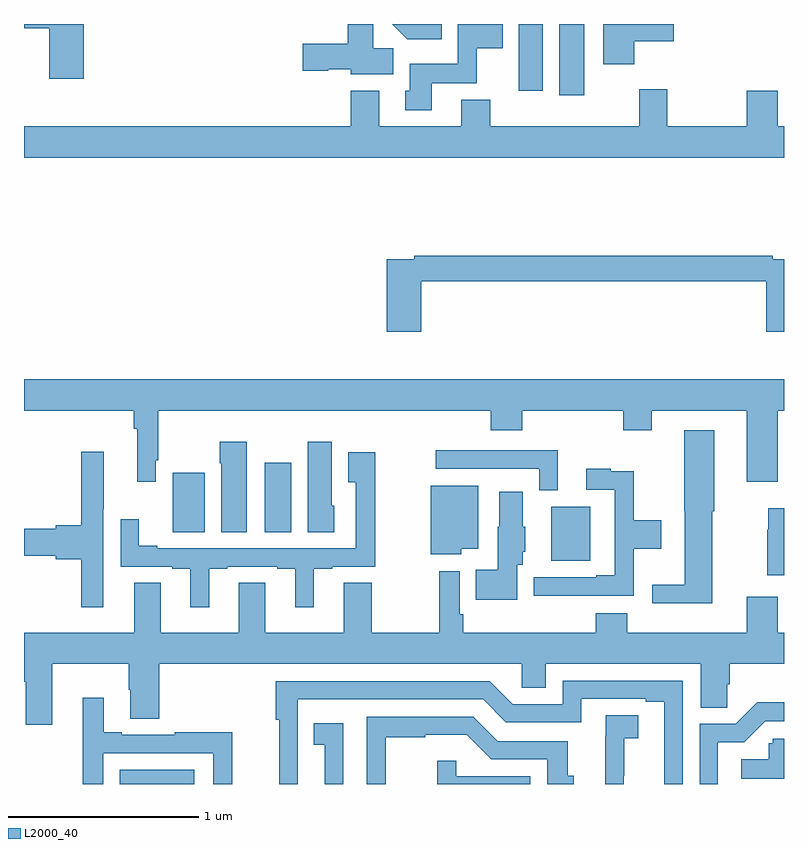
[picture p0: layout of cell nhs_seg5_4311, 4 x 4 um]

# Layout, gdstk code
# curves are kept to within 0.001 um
import gdstk
lib = gdstk.Library(unit=1e-6, precision=1e-09)
def R(c, l, rs):  # rectangles x0, y0, x1, y1
    for r in rs: c.add(gdstk.rectangle(r[:2], r[2:], *l))
def P(c, l, *ps):  # polygons
    for p in ps: c.add(gdstk.Polygon(p, *l))
L2000_40 = (2000, 40)

nhs_seg5_4311 = lib.new_cell('nhs_seg5_4311')
R(nhs_seg5_4311, L2000_40, [(365.503,850.799,365.896,850.873), (367.775,851.975,367.981,852.259), (365.783,852.124,365.95,852.436), (366.266,852.124,366.406,852.49), (367.817,854.424,367.948,854.799), (367.604,854.448,367.729,854.799)])
P(nhs_seg5_4311, L2000_40, [(365.315,854.799),(365,854.799),(365,854.776),(365.132,854.776),(365.132,854.511),(365.315,854.511)],
  [(367.199,854.799),(366.938,854.799),(366.938,854.798),(367.016,854.72),(367.199,854.72)],
  [(366.943,854.672),(366.838,854.672),(366.838,854.799),(366.704,854.799),(366.704,854.696),(366.468,854.696),(366.468,854.554),(366.6,854.554),(366.6,854.561),(366.72,854.561),(366.72,854.534),(366.943,854.534)],
  [(368.212,854.708),(368.419,854.708),(368.419,854.799),(368.048,854.799),(368.048,854.586),(368.212,854.586)],
  [(367.147,854.486),(367.383,854.486),(367.383,854.672),(367.519,854.672),(367.519,854.799),(367.284,854.799),(367.284,854.59),(367.031,854.59),(367.031,854.448),(367.007,854.448),(367.007,854.346),(367.147,854.346)],
  [(369,854.26),(368.968,854.26),(368.968,854.449),(368.804,854.449),(368.804,854.26),(368.385,854.26),(368.385,854.455),(368.237,854.455),(368.237,854.26),(367.454,854.26),(367.454,854.401),(367.301,854.401),(367.301,854.26),(366.871,854.26),(366.871,854.449),(366.719,854.449),(366.719,854.26),(365,854.26),(365,854.096),(369,854.096)],
  [(367.091,853.444),(368.906,853.444),(368.906,853.179),(369,853.179),(369,853.56),(368.942,853.56),(368.942,853.58),(367.054,853.58),(367.054,853.56),(366.908,853.56),(366.908,853.179),(367.091,853.179)],
  [(365,852.764),(365.578,852.764),(365.578,852.668),(365.597,852.668),(365.597,852.39),(365.694,852.39),(365.694,852.502),(365.707,852.502),(365.707,852.764),(367.457,852.764),(367.457,852.662),(367.622,852.662),(367.622,852.764),(368.153,852.764),(368.153,852.662),(368.305,852.662),(368.305,852.764),(368.804,852.764),(368.804,852.39),(368.968,852.39),(368.968,852.764),(369,852.764),(369,852.928),(365,852.928)],
  [(368.622,852.234),(368.632,852.234),(368.632,852.661),(368.474,852.661),(368.474,852.234),(368.477,852.234),(368.477,851.849),(368.307,851.849),(368.307,851.75),(368.622,851.75)],
  [(366.172,852.601),(366.031,852.601),(366.031,852.488),(366.038,852.488),(366.038,852.124),(366.172,852.124)],
  [(366.634,852.264),(366.619,852.264),(366.619,852.601),(366.494,852.601),(366.494,852.124),(366.634,852.124)],
  [(367.81,852.555),(367.167,852.555),(367.167,852.459),(367.713,852.459),(367.713,852.344),(367.81,852.344)],
  [(365.418,852.244),(365.42,852.244),(365.42,852.547),(365.302,852.547),(365.302,852.161),(365.166,852.161),(365.166,852.143),(365,852.143),(365,852.001),(365.166,852.001),(365.166,851.983),(365.302,851.983),(365.302,851.73),(365.418,851.73)],
  [(365.974,851.931),(366.07,851.931),(366.07,851.943),(366.332,851.943),(366.332,851.931),(366.428,851.931),(366.428,851.73),(366.526,851.73),(366.526,851.931),(366.622,851.931),(366.622,851.943),(366.848,851.943),(366.848,852.544),(366.707,852.544),(366.707,852.388),(366.747,852.388),(366.747,852.039),(365.701,852.039),(365.701,852.052),(365.605,852.052),(365.605,852.193),(365.508,852.193),(365.508,851.943),(365.78,851.943),(365.78,851.931),(365.876,851.931),(365.876,851.73),(365.974,851.73)],
  [(367.925,851.79),(368.21,851.79),(368.21,852.038),(368.353,852.038),(368.353,852.186),(368.21,852.186),(368.21,852.446),(368.087,852.446),(368.087,852.457),(367.959,852.457),(367.959,852.348),(368.109,852.348),(368.109,851.899),(368.012,851.899),(368.012,851.886),(367.683,851.886),(367.683,851.789),(367.925,851.789)],
  [(367.3,852.038),(367.39,852.038),(367.39,852.37),(367.142,852.37),(367.142,852.008),(367.3,852.008)],
  [(367.597,851.952),(367.624,851.952),(367.624,852.021),(367.639,852.021),(367.639,852.153),(367.624,852.153),(367.624,852.337),(367.502,852.337),(367.502,852.153),(367.493,852.153),(367.493,851.926),(367.378,851.926),(367.378,851.768),(367.597,851.768)],
  [(369,852.25),(368.918,852.25),(368.918,852.137),(368.911,852.137),(368.911,851.898),(369,851.898)],
  [(368.804,851.785),(368.804,851.596),(368.174,851.596),(368.174,851.698),(368.009,851.698),(368.009,851.596),(367.313,851.596),(367.313,851.692),(367.293,851.692),(367.293,851.92),(367.185,851.92),(367.185,851.596),(366.831,851.596),(366.831,851.858),(366.683,851.858),(366.683,851.596),(366.271,851.596),(366.271,851.858),(366.131,851.858),(366.131,851.596),(365.719,851.596),(365.719,851.858),(365.579,851.858),(365.579,851.596),(365,851.596),(365,851.336),(365.009,851.336),(365.009,851.112),(365.149,851.112),(365.149,851.432),(365.551,851.432),(365.551,851.294),(365.558,851.294),(365.558,851.143),(365.711,851.143),(365.711,851.432),(367.62,851.432),(367.62,851.305),(367.747,851.305),(367.747,851.432),(368.561,851.432),(368.561,851.2),(368.7,851.2),(368.7,851.323),(368.714,851.323),(368.714,851.432),(369,851.432),(369,851.596),(368.968,851.596),(368.968,851.785)],
  [(366.442,850.916),(366.441,851.244),(367.416,851.244),(367.536,851.124),(367.932,851.124),(367.932,851.247),(368.273,851.247),(368.273,851.232),(368.369,851.232),(368.369,850.799),(368.466,850.799),(368.466,851.343),(367.836,851.343),(367.836,851.22),(367.572,851.22),(367.452,851.34),(366.325,851.34),(366.325,851.137),(366.343,851.137),(366.343,850.799),(366.442,850.799)],
  [(365.418,850.962),(365.997,850.962),(365.997,850.799),(366.096,850.799),(366.096,851.071),(365.794,851.071),(365.794,851.058),(365.515,851.058),(365.515,851.071),(365.419,851.071),(365.419,851.254),(365.309,851.254),(365.309,851.009),(365.31,851.009),(365.31,850.799),(365.418,850.799)],
  [(368.652,851.019),(368.79,851.019),(368.901,851.13),(369,851.13),(369,851.228),(368.858,851.228),(368.745,851.115),(368.556,851.115),(368.556,850.799),(368.652,850.799)],
  [(368.157,850.843),(368.159,850.843),(368.159,851.041),(368.233,851.041),(368.233,851.162),(368.062,851.162),(368.062,851.051),(368.06,851.051),(368.06,850.799),(368.157,850.799)],
  [(366.905,851.046),(367.112,851.046),(367.112,851.057),(367.33,851.057),(367.458,850.929),(367.754,850.929),(367.754,850.799),(367.894,850.799),(367.894,850.842),(367.861,850.842),(367.861,851.025),(367.494,851.025),(367.365,851.154),(366.804,851.154),(366.804,850.799),(366.905,850.799)],
  [(366.681,851.119),(366.526,851.119),(366.526,851.006),(366.584,851.006),(366.584,850.799),(366.681,850.799)],
  [(369,851.037),(368.94,851.037),(368.94,851.013),(368.919,851.013),(368.919,850.93),(368.775,850.93),(368.775,850.826),(369,850.826)],
  [(367.665,850.839),(367.275,850.839),(367.275,850.921),(367.174,850.921),(367.174,850.799),(367.665,850.799)])

lib.write_gds('nhs_seg5_4311.gds')
